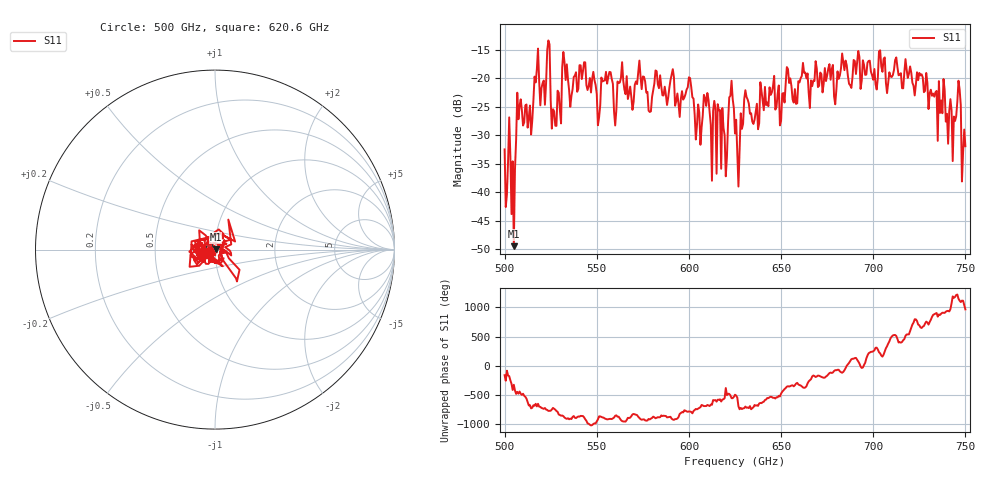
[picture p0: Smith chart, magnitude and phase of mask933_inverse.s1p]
!Created with skrf (http://scikit-rf.org).
# GHz S MA R 50.0
!freq magS11 angS11
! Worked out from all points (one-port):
!   401 points, 500 GHz to 750 GHz, reference 50 ohm
!   lowest |S11| = -49.5 dB at 505 GHz (marker M1), VSWR 1.01, Z = 50.3 + j0.185 ohm
!   |S11| at or under -10 dB: start of sweep to end of sweep
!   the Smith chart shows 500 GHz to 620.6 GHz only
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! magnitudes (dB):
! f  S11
! 500 GHz  -32.5
! 505 GHz  -49.5
! 508.1 GHz  -24.8
! 513.8 GHz  -24.8
! 517.5 GHz  -18.4
! 520.6 GHz  -20.8
! 523.8 GHz  -13.3
! 526.9 GHz  -25.8
! 531.2 GHz  -18.0
! 542.5 GHz  -18.8
! 550.6 GHz  -28.2
! 562.5 GHz  -20.7
! 590.6 GHz  -19.4
! 593.8 GHz  -22.6
! 600 GHz  -19.8
! 605 GHz  -24.6
! 609.4 GHz  -24.8
! 620 GHz  -37.2
! 623.1 GHz  -20.4
! 625 GHz  -29.7
! 626.2 GHz  -32.9
! 631.2 GHz  -23.2
! 656.2 GHz  -23.7
! 687.5 GHz  -21.2
! 718.8 GHz  -19.9
! 741.9 GHz  -23.6
! 746.2 GHz  -20.4
! 750 GHz  -31.9
